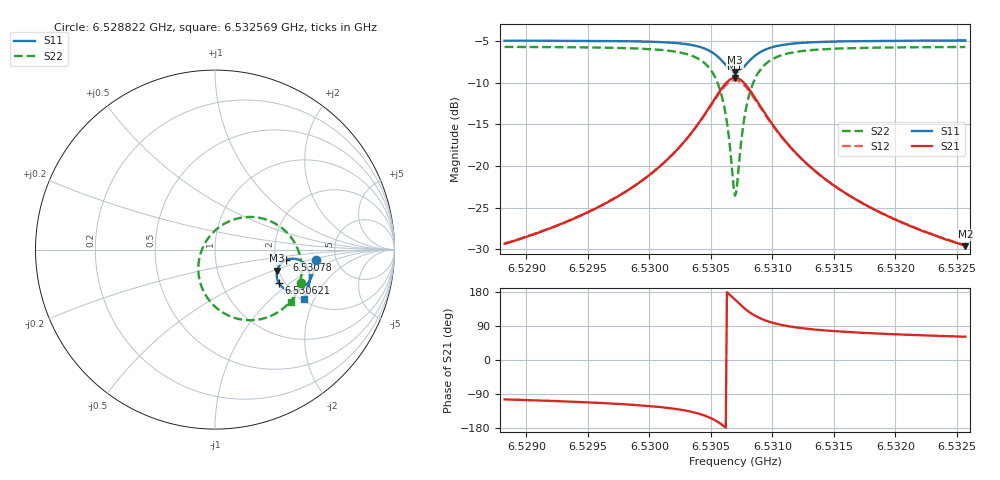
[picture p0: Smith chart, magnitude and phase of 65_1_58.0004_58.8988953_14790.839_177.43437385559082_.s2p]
#  HZ  S  RI  R  50.00
! Rohde & Schwarz Vector Network Analyzer
! Rohde-Schwarz,ZNB20-2Port,1311601062101988,3.16
! Created: UTC 3/21/2024, 12:53:09 AM
! freq[Hz]  re:S11  im:S11  re:S21  im:S21  re:S12  im:S12  re:S22  im:S22
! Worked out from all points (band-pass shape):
!   401 points, 6.528822 GHz to 6.532569 GHz, reference 50 ohm
!   highest |S21| = -9.44 dB at 6.530696 GHz (marker M1); lowest = -29.6 dB at 6.532569 GHz (marker M2)
!   |S21| within 3 dB of the highest: 6.530509 GHz to 6.530884 GHz (374.8 kHz wide, 0.00574 % of centre)
!   lowest |S11| = -8.7 dB at 6.530696 GHz (marker M3), VSWR 2.15, Z = 98.2 - j26.6 ohm
!   |S11| at or under -10 dB: nowhere
!   |S22| runs from -23.6 to -5.7 dB; largest |S21 - S12| = 0.014
!   S11 on the Smith chart (normalised r, x): 6.528822 GHz: 3.48, -0.59; 6.530621 GHz: 1.87, -0.84; 6.53078 GHz: 2.29, -0.32; 6.532569 GHz: 2.05, -1.66
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6.5288223e9  0.5607 -0.0577  -0.00823 -0.0332  -0.00907 -0.0331  0.4815 -0.1885
6.5294499e9  0.5513 -0.1118  -0.0184 -0.0473  -0.0194 -0.047  0.4491 -0.2506
6.5297964e9  0.5404 -0.1459  -0.0312 -0.0619  -0.033 -0.0612  0.415 -0.2947
6.5300774e9  0.5236 -0.1789  -0.0548 -0.0816  -0.0573 -0.08  0.3619 -0.3412
6.5303022e9  0.4938 -0.2109  -0.101 -0.1046  -0.1042 -0.1008  0.2685 -0.3843
6.5304615e9  0.4449 -0.2302  -0.179 -0.1108  -0.1817 -0.103  0.1255 -0.385
6.5305551e9  0.3945 -0.2215  -0.2579 -0.0778  -0.2563 -0.0663  -0.00471 -0.313
6.5305926e9  0.3718 -0.2059  -0.2916 -0.0438  -0.2868 -0.0317  -0.0549 -0.2487
6.5306207e9  0.3568 -0.1876  -0.3125 -0.00763  -0.3048 0.00365  -0.0822 -0.1841
6.5306488e9  0.3464 -0.1637  -0.3248 0.0371  -0.3141 0.0464  -0.093 -0.1078
6.5306769e9  0.3434 -0.136  -0.3241 0.0867  -0.3117 0.093  -0.0819 -0.0266
6.5306956e9  0.3463 -0.1173  -0.3154 0.1198  -0.3023 0.1239  -0.0612 0.0257
6.5307144e9  0.3532 -0.0995  -0.3003 0.1504  -0.2875 0.1522  -0.0307 0.0732
6.5307518e9  0.376 -0.0709  -0.2556 0.1987  -0.2447 0.1967  0.0514 0.1437
6.5307799e9  0.3978 -0.0577  -0.2158 0.2206  -0.2071 0.2169  0.1209 0.1723
6.5308455e9  0.4468 -0.0514  -0.13 0.2305  -0.1256 0.2265  0.2662 0.1729
6.5309391e9  0.4921 -0.0717  -0.0531 0.1996  -0.0512 0.1974  0.3917 0.104
6.5310796e9  0.5196 -0.1091  -0.00569 0.1483  -0.00441 0.1475  0.4625 -0.000526
6.5313232e9  0.5288 -0.1559  0.0152 0.0954  0.0161 0.0951  0.4831 -0.1105
6.5316042e9  0.5248 -0.192  0.0185 0.0655  0.0196 0.0651  0.4748 -0.1798
6.5319507e9  0.5151 -0.2262  0.0183 0.0462  0.019 0.0458  0.4576 -0.2321
6.5325689e9  0.4935 -0.2757  0.0157 0.0291  0.0165 0.029  0.4255 -0.2929
